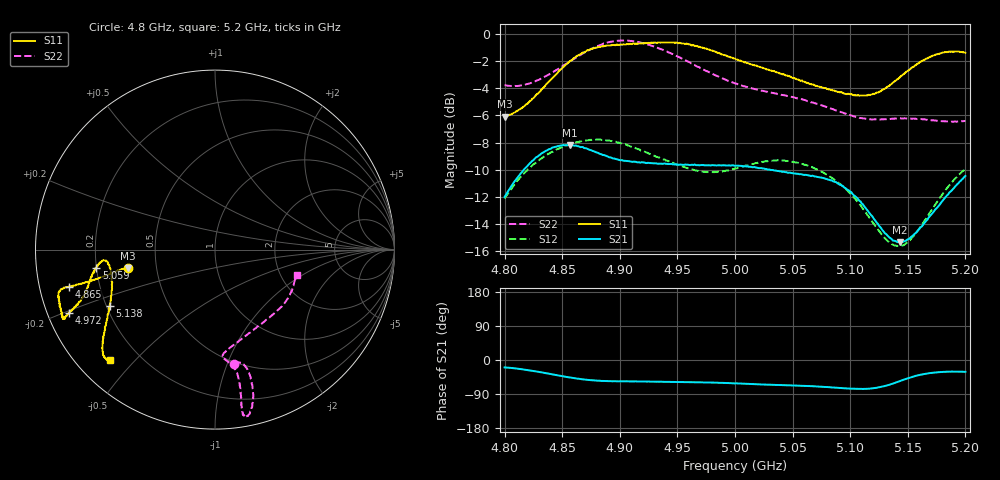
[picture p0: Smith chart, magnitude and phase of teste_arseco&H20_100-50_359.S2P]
! Network Analyzer HP8722D
! Hewlett-Packard
! Data name: Linha & Wilkinson
! Saver's name: Rodrigo Anjos
! Comments: Teste da utilização de aquisição
! continua pelo VNA HP8722D
! Time and date: 6/5/2025 15:33
!  Frequency  S11  S21  S12  S22
# HZ  S  MA R 50
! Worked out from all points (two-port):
!   401 points, 4.8 GHz to 5.2 GHz, reference 50 ohm
!   highest |S21| = -8.18 dB at 4.857 GHz (marker M1); lowest = -15.3 dB at 5.143 GHz (marker M2)
!   |S21| within 3 dB of the highest: 4.806 GHz to 5.093 GHz (287 MHz wide, 5.8 % of centre); 5.191682 GHz to end of sweep
!   lowest |S11| = -6.1 dB at 4.8 GHz (marker M3), VSWR 2.97, Z = 17 - j4.6 ohm
!   |S11| at or under -10 dB: nowhere
!   |S22| runs from -6.5 to -0.5 dB; largest |S21 - S12| = 0.62
!   S11 on the Smith chart (normalised r, x): 4.8 GHz: 0.34, -0.09; 4.865 GHz: 0.09, -0.12; 4.972 GHz: 0.06, -0.21; 5.059 GHz: 0.20, -0.07; 5.138 GHz: 0.21, -0.24; 5.2 GHz: 0.09, -0.43
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4.8e9  0.4966 -168.1  0.2514 -19.6  0.248 -140.7  0.6474 -80.4
4.828e9  0.6 -167.0  0.3527 -30.5  0.338 -144.6  0.6741 -75.4
4.857e9  0.7951 -165.7  0.3901 -46.1  0.3929 -150.2  0.7926 -74.7
4.865e9  0.8388 -165.8  0.3848 -49.8  0.4013 -151.6  0.8326 -75.2
4.867e9  0.8485 -165.7  0.3835 -50.7  0.403 -151.8  0.8429 -75.4
4.898e9  0.9116 -163.0  0.3451 -56.0  0.3983 -156.3  0.9429 -78.8
4.915e9  0.9205 -159.3  0.3371 -56.7  0.3781 -157.2  0.9358 -80.3
4.934e9  0.9303 -156.3  0.333 -57.5  0.3513 -155.5  0.8845 -80.4
4.953e9  0.9237 -155.4  0.3307 -58.0  0.3264 -151.9  0.8142 -79.9
4.972e9  0.8888 -156.5  0.3291 -59.1  0.3116 -146.1  0.7416 -79.7
5e9  0.8109 -159.0  0.3272 -61.8  0.32 -137.2  0.6576 -81.2
5.036e9  0.7229 -165.5  0.3139 -65.9  0.3423 -134.3  0.6031 -85.6
5.059e9  0.6684 -171.4  0.3037 -68.1  0.3321 -136.0  0.5729 -84.3
5.067e9  0.6522 -172.9  0.301 -69.0  0.3235 -136.7  0.5601 -82.6
5.083e9  0.6221 -174.5  0.2891 -72.2  0.2975 -138.1  0.5319 -76.8
5.103e9  0.5948 -171.4  0.2553 -75.9  0.2507 -138.6  0.4974 -65.3
5.134e9  0.644 -154.3  0.1784 -65.3  0.1708 -120.8  0.4863 -43.3
5.138e9  0.6663 -151.9  0.1736 -61.3  0.167 -115.6  0.4874 -40.8
5.143e9  0.6911 -149.3  0.1713 -55.9  0.1657 -108.9  0.4892 -38.0
5.154e9  0.7548 -144.4  0.1807 -44.5  0.1788 -95.1  0.4875 -32.3
5.173e9  0.8351 -138.9  0.2235 -33.2  0.2328 -80.7  0.4806 -24.3
5.2e9  0.8523 -133.5  0.3002 -31.2  0.3191 -76.8  0.478 -17.5
